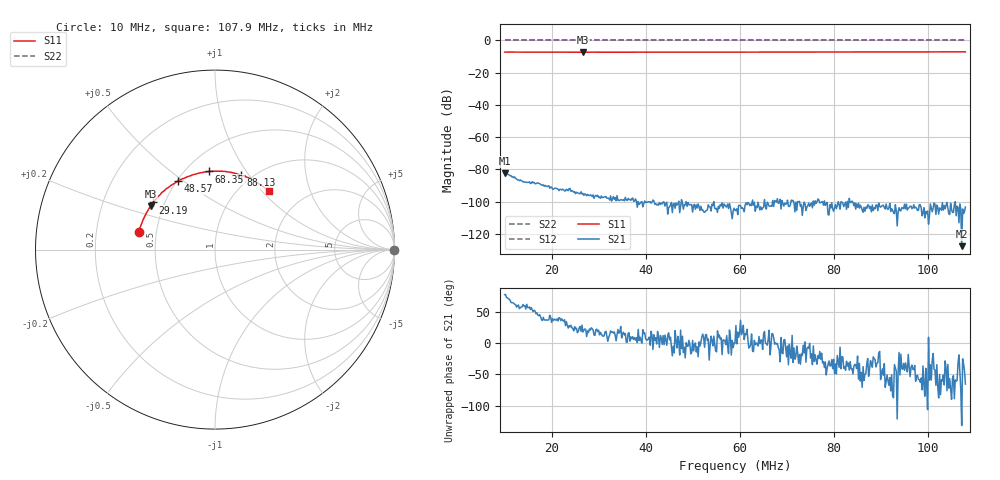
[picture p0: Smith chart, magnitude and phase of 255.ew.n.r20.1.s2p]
! Anritsu VNA Master:  Model: MS2036C/10/77
! SN:  1601066
! /card0/usr/255.ew.n.r20.1.s2p
! Existing Calibration Information:
! TYPE:  Current Settings,  Active Cal Settings
! TIME:  12/17/2017 06:41:52 PM,  12/17/2017 06:38:14 PM
! INTERNAL TEMP:  43.8 C,  43.8 C
! # POINTS:  501,  501
! START FREQ:  10.000 MHz,  10.000 MHz
! STOP FREQ:  107.903 125 MHz,  107.903 125 MHz
! SOURCE POWER:  High,  High
! IFBW:  100 Hz,  100 Hz
! AVG FACTOR:  1 ,  1
! REF PLANE 1:  0 mm,  0 mm
! REF PLANE 2:  0 mm,  0 mm
! CAL TYPE:  Full S11,  Full S11
! CAL METHOD:  SOLT,  SOLT
! CAL LINE TYPE:  Coax,  Coax
! DUT PORT 1:  N-Conn(F),  N-Conn(F)
! DUT PORT 2:  K-Conn(F),  K-Conn(F)
! CAL STATUS:  OK: Accuracy High,  --
# GHZ S DB R 50.0
! FREQ.GHZ  S11DB  S11A  S21DB  S21A  S12DB  S12A  S22DB  S22A
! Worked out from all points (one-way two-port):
!   501 points, 10 MHz to 107.9 MHz, reference 50 ohm
!   highest |S21| = -82.51 dB at 10 MHz (marker M1); lowest = -127.7 dB at 107.1 MHz (marker M2)
!   lowest |S11| = -7.3 dB at 26.64 MHz (marker M3), VSWR 2.52, Z = 21.4 + j12.7 ohm
!   |S11| at or under -10 dB: nowhere
!   |S22| runs from 0.0 to 0.0 dB; largest |S21 - S12| = 1
!   S11 on the Smith chart (normalised r, x): 10 MHz: 0.40, +0.10; 29.19 MHz: 0.43, +0.28; 48.57 MHz: 0.51, +0.47; 68.35 MHz: 0.64, +0.69; 88.13 MHz: 0.90, +0.92; 107.9 MHz: 1.36, +1.10
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0.01  -7.22 167.0  -82.51 78.0  0.00 0.0  0.00 0.0
0.01391612  -7.23 162.0  -87.83 62.2  0.00 0.0  0.00 0.0
0.01724483  -7.25 157.8  -88.71 44.3  0.00 0.0  0.00 0.0
0.02155257  -7.26 152.3  -93.19 41.1  0.00 0.0  0.00 0.0
0.02644772  -7.29 146.1  -95.23 29.1  0.00 0.0  0.00 0.0
0.02664353  -7.29 145.9  -94.96 18.0  0.00 0.0  0.00 0.0
0.02918901  -7.26 142.7  -96.74 12.7  0.00 0.0  0.00 0.0
0.03643384  -7.25 133.5  -98.89 16.9  0.00 0.0  0.00 0.0
0.04093739  -7.24 128.2  -100.00 -3.0  0.00 0.0  0.00 0.0
0.04269964  -7.28 126.0  -102.22 8.9  0.00 0.0  0.00 0.0
0.04857383  -7.26 118.7  -99.95 0.9  0.00 0.0  0.00 0.0
0.05483963  -7.25 110.9  -104.58 -12.0  0.00 0.0  0.00 0.0
0.05914737  -7.24 105.5  -105.48 28.4  0.00 0.0  0.00 0.0
0.06267188  -7.22 101.3  -99.04 -12.2  0.00 0.0  0.00 0.0
0.06835026  -7.20 94.3  -100.73 -11.2  0.00 0.0  0.00 0.0
0.07539929  -7.17 85.8  -103.86 -34.2  0.00 0.0  0.00 0.0
0.08186089  -7.14 78.2  -100.88 -21.6  0.00 0.0  0.00 0.0
0.08812669  -7.14 70.5  -102.06 -38.4  0.00 0.0  0.00 0.0
0.09165121  -7.11 66.3  -103.70 -67.2  0.00 0.0  0.00 0.0
0.09967926  -7.11 56.8  -107.59 -69.4  0.00 0.0  0.00 0.0
0.1071199  -7.08 47.8  -127.65 -131.8  0.00 0.0  0.00 0.0
0.1079031  -7.06 46.9  -103.38 -65.4  0.00 0.0  0.00 0.0
